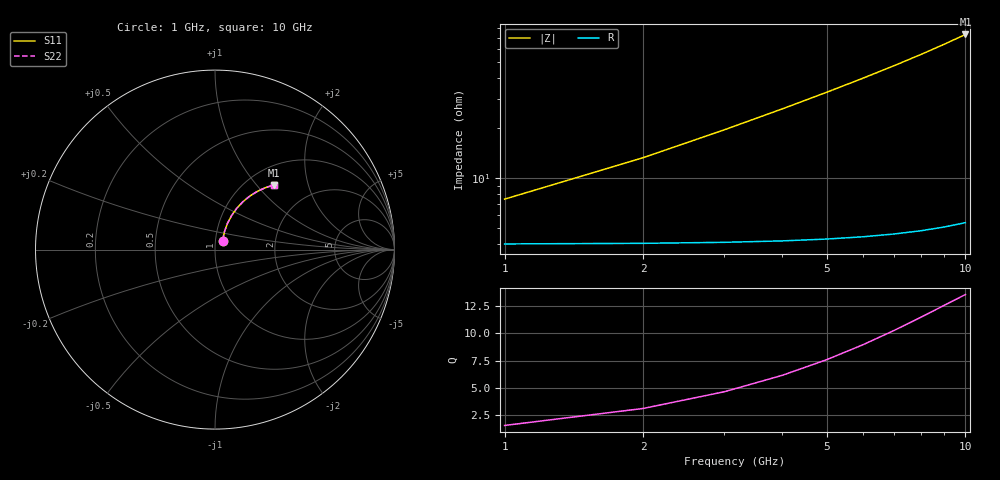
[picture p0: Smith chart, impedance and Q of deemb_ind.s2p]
! Created Thu Sep  9 09:02:37 2021
# hz S ma R 50
! 2 Port Network Data from SP1.SP block
! freq  magS11  angS11  magS21  angS21  magS12  angS12  magS22  angS22
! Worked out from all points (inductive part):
!   10 points, 1 GHz to 10 GHz, reference 50 ohm
!   read as 1/Y11, port 2 shorted: L = 1.01 nH near 2 GHz
!   highest Q = 13.5 at 10 GHz (marker M1), where L = 1.16 nH
1e9  0.06531 50.0  0.9602 -3.9  0.9602 -3.9  0.06531 50.0
2e9  0.1121 62.1  0.9561 -7.8  0.9561 -7.8  0.1121 62.1
3e9  0.1619 64.6  0.9493 -11.7  0.9493 -11.7  0.1619 64.6
4e9  0.2119 64.0  0.9399 -15.6  0.9399 -15.6  0.2119 64.0
5e9  0.2612 62.2  0.9281 -19.5  0.9281 -19.5  0.2612 62.2
6e9  0.3095 59.7  0.914 -23.3  0.914 -23.3  0.3095 59.7
7e9  0.3564 56.9  0.8976 -27.0  0.8976 -27.0  0.3564 56.9
8e9  0.4017 53.9  0.8794 -30.8  0.8794 -30.8  0.4017 53.9
9e9  0.4452 50.8  0.8593 -34.4  0.8593 -34.4  0.4452 50.8
1e10  0.4868 47.7  0.8377 -38.0  0.8377 -38.0  0.4868 47.7
